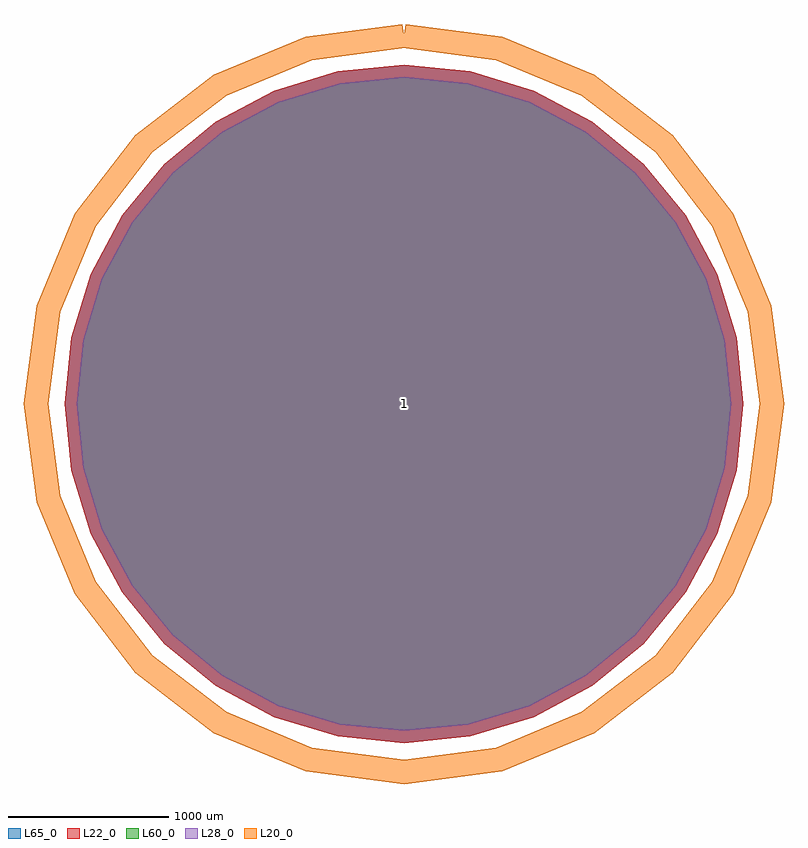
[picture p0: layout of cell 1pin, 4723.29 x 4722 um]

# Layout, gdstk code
import gdstk
lib = gdstk.Library(unit=1e-6, precision=1e-09)
def P(c, l, *ps):  # polygons
    for p in ps: c.add(gdstk.Polygon(p, *l))
L20_0 = (20, 0)
L22_0 = (22, 0)
L28_0 = (28, 0)
L60_0 = (60, 0)
L65_0 = (65, 0)

c_1pin = lib.new_cell('1pin')
P(c_1pin, L22_0, [(2107,0),(2066.515,411.055),(1946.614,806.314),(1751.906,1170.586),(1489.874,1489.874),(1170.586,1751.906),(806.314,1946.614),(411.055,2066.515),(0,2107),(-411.055,2066.515),(-806.314,1946.614),(-1170.586,1751.906),(-1489.874,1489.874),(-1751.906,1170.586),(-1946.614,806.314),(-2066.515,411.055),(-2107,0),(-2066.515,-411.055),(-1946.614,-806.314),(-1751.906,-1170.586),(-1489.874,-1489.874),(-1170.586,-1751.906),(-806.314,-1946.614),(-411.055,-2066.515),(0,-2107),(411.055,-2066.515),(806.314,-1946.614),(1170.586,-1751.906),(1489.874,-1489.874),(1751.906,-1170.586),(1946.614,-806.314),(2066.515,-411.055)])
P(c_1pin, L28_0, [(2032,0),(1992.956,396.424),(1877.323,777.613),(1689.546,1128.919),(1436.841,1436.841),(1128.919,1689.546),(777.613,1877.323),(396.424,1992.956),(0,2032),(-396.424,1992.956),(-777.613,1877.323),(-1128.919,1689.546),(-1436.841,1436.841),(-1689.546,1128.919),(-1877.323,777.613),(-1992.956,396.424),(-2032,0),(-1992.956,-396.424),(-1877.323,-777.613),(-1689.546,-1128.919),(-1436.841,-1436.841),(-1128.919,-1689.546),(-777.613,-1877.323),(-396.424,-1992.956),(0,-2032),(396.424,-1992.956),(777.613,-1877.323),(1128.919,-1689.546),(1436.841,-1436.841),(1689.546,-1128.919),(1877.323,-777.613),(1992.956,-396.424)])
P(c_1pin, L60_0, [(2032,0),(1992.956,396.424),(1877.323,777.613),(1689.546,1128.919),(1436.841,1436.841),(1128.919,1689.546),(777.613,1877.323),(396.424,1992.956),(0,2032),(-396.424,1992.956),(-777.613,1877.323),(-1128.919,1689.546),(-1436.841,1436.841),(-1689.546,1128.919),(-1877.323,777.613),(-1992.956,396.424),(-2032,0),(-1992.956,-396.424),(-1877.323,-777.613),(-1689.546,-1128.919),(-1436.841,-1436.841),(-1128.919,-1689.546),(-777.613,-1877.323),(-396.424,-1992.956),(0,-2032),(396.424,-1992.956),(777.613,-1877.323),(1128.919,-1689.546),(1436.841,-1436.841),(1689.546,-1128.919),(1877.323,-777.613),(1992.956,-396.424)])
P(c_1pin, L65_0, [(2107,0),(2066.515,411.055),(1946.614,806.314),(1751.906,1170.586),(1489.874,1489.874),(1170.586,1751.906),(806.314,1946.614),(411.055,2066.515),(0,2107),(-411.055,2066.515),(-806.314,1946.614),(-1170.586,1751.906),(-1489.874,1489.874),(-1751.906,1170.586),(-1946.614,806.314),(-2066.515,411.055),(-2107,0),(-2066.515,-411.055),(-1946.614,-806.314),(-1751.906,-1170.586),(-1489.874,-1489.874),(-1170.586,-1751.906),(-806.314,-1946.614),(-411.055,-2066.515),(0,-2107),(411.055,-2066.515),(806.314,-1946.614),(1170.586,-1751.906),(1489.874,-1489.874),(1751.906,-1170.586),(1946.614,-806.314),(2066.515,-411.055)])
c_1pin.add(gdstk.FlexPath([(0,2286),(-591.66,2208.106),(-1143,1979.734),(-1616.446,1616.446),(-1979.734,1143),(-2208.106,591.66),(-2286,0),(-2208.106,-591.66),(-1979.734,-1143),(-1616.446,-1616.446),(-1143,-1979.734),(-591.66,-2208.106),(0,-2286),(591.66,-2208.106),(1143,-1979.734),(1616.446,-1616.446),(1979.734,-1143),(2208.106,-591.66),(2286,0),(2208.106,591.66),(1979.734,1143),(1616.446,1616.446),(1143,1979.734),(591.66,2208.106),(0,2286)], 149.998, ends="flush", simple_path=True, layer=20, datatype=0))  # L20_0
c_1pin.add(gdstk.Label('1', (0,0), layer=28, texttype=0))
c_1pin.add(gdstk.Label('type', (0,-2794), layer=9, texttype=0))
c_1pin.add(gdstk.Label('devicename', (0,3048), layer=9, texttype=0))

lib.write_gds('1pin.gds')
